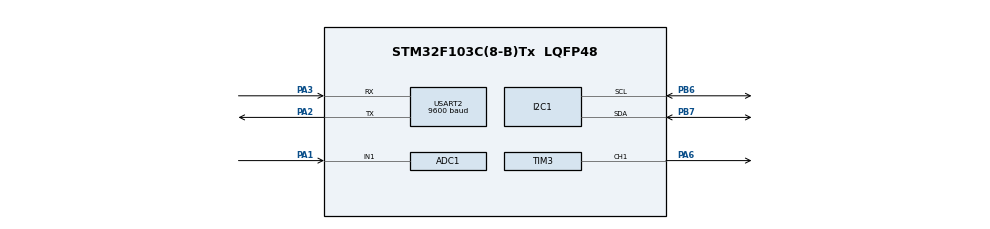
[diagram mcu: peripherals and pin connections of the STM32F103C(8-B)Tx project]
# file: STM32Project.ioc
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ADC1.Channel-0\#ChannelRegularConversion=ADC_CHANNEL_1
ADC1.NbrOfConversionFlag=1
ADC1.Rank-0\#ChannelRegularConversion=1
ADC1.SamplingTime-0\#ChannelRegularConversion=ADC_SAMPLETIME_239CYCLES_5
ADC1.master=1
Mcu.Family=STM32F1
Mcu.Name=STM32F103C(8-B)Tx
Mcu.Package=LQFP48
NVIC.ADC1_2_IRQn=true\:0\:0\:false\:false\:true\:true\:true
NVIC.PriorityGroup=NVIC_PRIORITYGROUP_4
NVIC.TIM3_IRQn=true\:0\:0\:false\:false\:true\:true\:true
NVIC.USART2_IRQn=true\:0\:0\:false\:false\:true\:true\:true
PA1.Signal=ADCx_IN1
PA13.Mode=Serial_Wire
PA13.Signal=SYS_JTMS-SWDIO
PA14.Mode=Serial_Wire
PA14.Signal=SYS_JTCK-SWCLK
PA2.Mode=Asynchronous
PA2.Signal=USART2_TX
PA3.Mode=Asynchronous
PA3.Signal=USART2_RX
PA6.Signal=S_TIM3_CH1
PB6.Mode=I2C
PB6.Signal=I2C1_SCL
PB7.Mode=I2C
PB7.Signal=I2C1_SDA
ProjectManager.HeapSize=0x200
ProjectManager.StackSize=0x400
ProjectManager.TargetToolchain=MDK-ARM V5.27
RCC.APB1Freq_Value=8000000
RCC.APB2Freq_Value=8000000
SH.ADCx_IN1.0=ADC1_IN1,IN1
SH.S_TIM3_CH1.0=TIM3_CH1,PWM Generation1 CH1
TIM3.Channel-PWM\ Generation1\ CH1=TIM_CHANNEL_1
TIM3.Period=999
TIM3.Prescaler=15999
TIM3.Pulse-PWM\ Generation1\ CH1=500
USART2.BaudRate=9600
USART2.VirtualMode=VM_ASYNC
board=custom

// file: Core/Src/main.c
/* USER CODE BEGIN Header */
/**
  ******************************************************************************
  * @file           : main.c
  * @brief          : Main program body
  ******************************************************************************
  * @attention
  *
  * <h2><center>&copy; Copyright (c) 2021 STMicroelectronics.
  * All rights reserved.</center></h2>
  *
  * This software component is licensed by ST under BSD 3-Clause license,
  * the "License"; You may not use this file except in compliance with the
  * License. You may obtain a copy of the License at:
  *                        opensource.org/licenses/BSD-3-Clause
  *
  ******************************************************************************
  */
/* USER CODE END Header */
#include "main.h"

/* USER CODE BEGIN Includes */
#define device_addres 0xA0 // slave add
#include "at24c256.h"
/* USER CODE END Includes */

ADC_HandleTypeDef hadc1;

I2C_HandleTypeDef hi2c1;

TIM_HandleTypeDef htim3;

UART_HandleTypeDef huart2;

/* USER CODE BEGIN PV */
uint16_t adc_value;
HAL_StatusTypeDef ret;

#define MPU6050_ADDR 0xD0
#define SMPLRT_DIV_REG 0x19

#define GYRO_CONFIG_REG 0x1B
#define ACCEL_CONFIG_REG 0x1C
#define	ACCEL_XOUT_H_REG 0x3B
#define TEMP_OUT_H_REG 0x41
#define	GYRO_XOUT_H_REG 0x43
#define PWR_MGMT_1_REG 0x6B
#define WHO_AM_I_REG 0x75

int16_t Accel_X_RAW=0;
int16_t Accel_Y_RAW=0;
int16_t Accel_Z_RAW=0;

int16_t Gyro_X_RAW=0;
int16_t Gyro_Y_RAW=0;
int16_t Gyro_Z_RAW=0;

float Ax,Ay,Az,Gx,Gy,Gz;

uint8_t retvalmain[50];

int valx=0;
int valy=0;

int eeprom_adress=0;
uint8_t receiveDataArr[50];
extern int mpu_time;
extern int eeprom_available;

int getUsartDataLength=50;
uint8_t getUsartData[50];
int getUsartIndex=0;

uint8_t received_data;

uint8_t nums1_arr[50];
int nums1index=0;

uint8_t nums2_arr[50];
int nums2index=0;
uint8_t calc_operator;
int maxUsartLength=49;

/* USER CODE END PV */

void SystemClock_Config(void);
static void MX_GPIO_Init(void);
static void MX_TIM3_Init(void);
static void MX_ADC1_Init(void);
static void MX_I2C1_Init(void);
static void MX_USART2_UART_Init(void);

/* USER CODE BEGIN 0 */

void MPU6050_Init(void){
uint8_t check, Data;
// check device id
HAL_I2C_Mem_Read(&hi2c1, MPU6050_ADDR, WHO_AM_I_REG,1, &check, 1, 1000);
//if (check == 0x68){ // boyle bir cihaz varsa
// power management regisgter 0x6b power up
Data = 0;
HAL_I2C_Mem_Write(&hi2c1, MPU6050_ADDR, PWR_MGMT_1_REG,1, &Data, 1, 1000);
//
Data = 0x07;
HAL_I2C_Mem_Write(&hi2c1, MPU6050_ADDR, SMPLRT_DIV_REG,1, &Data, 1, 1000);
// set acc. meter configuration in ACCEL_CONFIG reg.
Data = 0x00;
HAL_I2C_Mem_Write(&hi2c1, MPU6050_ADDR, ACCEL_CONFIG_REG,1, &Data, 1, 1000);
// Set Gyroscopic configuration in GYRO_CONFIG Register
// XG_ST=0,YG_ST=0,ZG_ST=0, FS_SEL=0 -> ? 250 ?/s
Data = 0x00;
HAL_I2C_Mem_Write(&hi2c1, MPU6050_ADDR, GYRO_CONFIG_REG, 1, &Data, 1, 1000);
//}//
}

void MPU6050_Read_Accel (void)
{
uint8_t Rx_data[6];
// Read 6 BYTES of data starting from ACCEL_XOUT_H register
HAL_I2C_Mem_Read (&hi2c1, MPU6050_ADDR, ACCEL_XOUT_H_REG,1, Rx_data, 6, 1000);
Accel_X_RAW = (int16_t)(Rx_data[0] << 8 | Rx_data [1]);
Accel_Y_RAW = (int16_t)(Rx_data[2] << 8 | Rx_data [3]);
Accel_Z_RAW = (int16_t)(Rx_data[4] << 8 | Rx_data [5]);
Ax = Accel_X_RAW/16384.0;
Ay = Accel_Y_RAW/16384.0;
Az = Accel_Z_RAW/16384.0;
}

void MPU6050_Read_Gyro (void)
{
uint8_t Rx_data[6];
// read 6 bytes of data starting from GYRO_XOUT_H reg.
HAL_I2C_Mem_Read (&hi2c1, MPU6050_ADDR, GYRO_XOUT_H_REG,1, Rx_data, 6, 1000);
Gyro_X_RAW = (int16_t)(Rx_data[0] << 8 | Rx_data [1]);Gyro_Y_RAW = (int16_t)(Rx_data[2] << 8 | Rx_data [3]);
Gyro_Z_RAW = (int16_t)(Rx_data[4] << 8 | Rx_data [5]);
Gx = Gyro_X_RAW/131.0;
Gy = Gyro_Y_RAW/131.0;
Gz = Gyro_Z_RAW/131.0;
}

uint8_t value;
float tempval;
void write_to_eeprom(){
	tempval=(255.0/4096)*adc_value;
	value = (uint8_t) tempval;
	_writeEEPROM(&hi2c1,device_addres,eeprom_adress,(uint8_t)value);
	receiveDataArr[eeprom_adress]=_readEEPROM(&hi2c1 , device_addres, eeprom_adress);
	eeprom_adress++;
}

int get_digit_value(int digit_count, int number){
	int base=1;
	for(int i=0;i<digit_count;i++){
		base=base*10;
	};
	return base*number;
}

int get_num(uint8_t arr[50],int arr_index){
		int number=0;
		for(int i=0;i<arr_index;i++){
			number+=get_digit_value(arr_index-i-1,arr[i]-48);
		}
		return number;
}

int number_to_send=0;
int temp1data=0;
int temp2data=0;
uint8_t send_arr[20];
void execute_calculation(uint8_t arr1[50],uint8_t arr2[50],int arr1index,int arr2index,uint8_t calc_operator){

		int arr_i=0;
		int arr_to_send_i=0;
		int j, r;
		int arr[20];

		if(calc_operator=='+'){
			number_to_send = get_num(arr1,arr1index)+get_num(arr2,arr2index);
		}
		else if(calc_operator=='-'){
			number_to_send = get_num(arr1,arr1index)-get_num(arr2,arr2index);
		}
		else if(calc_operator=='/'){
			number_to_send = get_num(arr1,arr1index)/get_num(arr2,arr2index);
		}
		else if(calc_operator=='*'){
			number_to_send = get_num(arr1,arr1index)*get_num(arr2,arr2index);
		}

		if(number_to_send==0){
		 arr_to_send_i++;
			send_arr[0]=0;
		}
		if(number_to_send<0){
		    send_arr[arr_to_send_i++]='-';
				number_to_send=-number_to_send;
		}

	  while (number_to_send != 0) {
				r = number_to_send % 10;
				arr[arr_i] = r;
				arr_i++;
				number_to_send = number_to_send / 10;
				}

				for (j = arr_i - 1; j > -1; j--) {
					send_arr[arr_to_send_i++]=(uint8_t)arr[j]+48;
				}
				send_arr[arr_to_send_i++]='\n';
				HAL_UART_Transmit_IT(&huart2,(uint8_t*) &send_arr,arr_to_send_i);
				 arr_i=0;
				 r=0;
				 j=0;
				 arr_to_send_i=0;
}

int increase_uart(){
uint8_t data = getUsartData[getUsartIndex];
		if (getUsartIndex>=maxUsartLength){
			getUsartData[getUsartIndex]=0;
			getUsartIndex=0;
		}
		else getUsartData[getUsartIndex++]=0;
		return data;
}

/* USER CODE END 0 */

int main(void)
{

  /* MCU Configuration--------------------------------------------------------*/

  /* Reset of all peripherals, Initializes the Flash interface and the Systick. */
  HAL_Init();

  /* Configure the system clock */
  SystemClock_Config();

  /* Initialize all configured peripherals */
  MX_GPIO_Init();
  MX_TIM3_Init();
  MX_ADC1_Init();
  MX_I2C1_Init();
  MX_USART2_UART_Init();
		/* USER CODE BEGIN 2 */
	HAL_TIM_PWM_Start_IT(&htim3, TIM_CHANNEL_1);
	__HAL_UART_ENABLE_IT(&huart2,UART_IT_RXNE);

	HAL_TIM_Base_Start_IT(&htim3);
	MPU6050_Init();

  /* USER CODE END 2 */

  /* Infinite loop */
  /* USER CODE BEGIN WHILE */

  while (1)
  {

		HAL_ADC_Start(&hadc1);
		HAL_Delay(100);
		adc_value=HAL_ADC_GetValue(&hadc1);

		if(mpu_time==2&&eeprom_available==1){
			write_to_eeprom();
			eeprom_available=0;
		}

		if(getUsartData[getUsartIndex]=='R'){
			int i=0;
			int arr_i=0;
			int arr_to_send_i=0;
			int j, r;
			int arr[20];
			uint8_t arr_to_send[20];
			for(i =0;i<eeprom_adress;i++){

						received_data = _readEEPROM(&hi2c1 , device_addres, i);

						while (received_data != 0) {
						r = received_data % 10;
						arr[arr_i] = r;
						arr_i++;
						received_data = received_data / 10;
						}

						for (j = arr_i - 1; j > -1; j--) {
							arr_to_send[arr_to_send_i++]=(uint8_t)arr[j]+48;
						}
						arr_to_send[arr_to_send_i++]='#';

						 arr_i=0;
						 r=0;
						 j=0;

			}
			arr_to_send[arr_to_send_i++]='\n';
			HAL_UART_Transmit_IT(&huart2,(uint8_t*) &arr_to_send,arr_to_send_i);
			HAL_Delay(50);
			arr_to_send_i=0;
			arr_to_send[0]=0;
			eeprom_adress=0;
			_eraseEEPROM(&hi2c1 , device_addres);
			increase_uart();
		}

		else if(getUsartData[getUsartIndex]=='>'){

				increase_uart();

				while(getUsartData[getUsartIndex]>47&&getUsartData[getUsartIndex]<58){
					nums1_arr[nums1index++]=getUsartData[getUsartIndex];
					increase_uart();
				}

				calc_operator=getUsartData[getUsartIndex];
				increase_uart();

				while(getUsartData[getUsartIndex]!=0){
					nums2_arr[nums2index++]=getUsartData[getUsartIndex];
					increase_uart();
				}
				execute_calculation(nums1_arr,nums2_arr,nums1index,nums2index,calc_operator);
				nums1index=0;
				nums2index=0;
		}

    /* USER CODE END WHILE */

  }
}

void SystemClock_Config(void)
{
  RCC_OscInitTypeDef RCC_OscInitStruct = {0};
  RCC_ClkInitTypeDef RCC_ClkInitStruct = {0};
  RCC_PeriphCLKInitTypeDef PeriphClkInit = {0};

  /** Initializes the RCC Oscillators according to the specified parameters
  * in the RCC_OscInitTypeDef structure.
  */
  RCC_OscInitStruct.OscillatorType = RCC_OSCILLATORTYPE_HSI;
  RCC_OscInitStruct.HSIState = RCC_HSI_ON;
  RCC_OscInitStruct.HSICalibrationValue = RCC_HSICALIBRATION_DEFAULT;
  RCC_OscInitStruct.PLL.PLLState = RCC_PLL_NONE;
  if (HAL_RCC_OscConfig(&RCC_OscInitStruct) != HAL_OK)
  {
    Error_Handler();
  }
  /** Initializes the CPU, AHB and APB buses clocks
  */
  RCC_ClkInitStruct.ClockType = RCC_CLOCKTYPE_HCLK|RCC_CLOCKTYPE_SYSCLK
                              |RCC_CLOCKTYPE_PCLK1|RCC_CLOCKTYPE_PCLK2;
  RCC_ClkInitStruct.SYSCLKSource = RCC_SYSCLKSOURCE_HSI;
  RCC_ClkInitStruct.AHBCLKDivider = RCC_SYSCLK_DIV1;
  RCC_ClkInitStruct.APB1CLKDivider = RCC_HCLK_DIV1;
  RCC_ClkInitStruct.APB2CLKDivider = RCC_HCLK_DIV1;

  if (HAL_RCC_ClockConfig(&RCC_ClkInitStruct, FLASH_LATENCY_0) != HAL_OK)
  {
    Error_Handler();
  }
  PeriphClkInit.PeriphClockSelection = RCC_PERIPHCLK_ADC;
  PeriphClkInit.AdcClockSelection = RCC_ADCPCLK2_DIV2;
  if (HAL_RCCEx_PeriphCLKConfig(&PeriphClkInit) != HAL_OK)
  {
    Error_Handler();
  }
}

static void MX_ADC1_Init(void)
{

  ADC_ChannelConfTypeDef sConfig = {0};

  /** Common config
  */
  hadc1.Instance = ADC1;
  hadc1.Init.ScanConvMode = ADC_SCAN_DISABLE;
  hadc1.Init.ContinuousConvMode = DISABLE;
  hadc1.Init.DiscontinuousConvMode = DISABLE;
  hadc1.Init.ExternalTrigConv = ADC_SOFTWARE_START;
  hadc1.Init.DataAlign = ADC_DATAALIGN_RIGHT;
  hadc1.Init.NbrOfConversion = 1;
  if (HAL_ADC_Init(&hadc1) != HAL_OK)
  {
    Error_Handler();
  }
  /** Configure Regular Channel
  */
  sConfig.Channel = ADC_CHANNEL_1;
  sConfig.Rank = ADC_REGULAR_RANK_1;
  sConfig.SamplingTime = ADC_SAMPLETIME_239CYCLES_5;
  if (HAL_ADC_ConfigChannel(&hadc1, &sConfig) != HAL_OK)
  {
    Error_Handler();
  }

}

static void MX_I2C1_Init(void)
{

  hi2c1.Instance = I2C1;
  hi2c1.Init.ClockSpeed = 100000;
  hi2c1.Init.DutyCycle = I2C_DUTYCYCLE_2;
  hi2c1.Init.OwnAddress1 = 0;
  hi2c1.Init.AddressingMode = I2C_ADDRESSINGMODE_7BIT;
  hi2c1.Init.DualAddressMode = I2C_DUALADDRESS_DISABLE;
  hi2c1.Init.OwnAddress2 = 0;
  hi2c1.Init.GeneralCallMode = I2C_GENERALCALL_DISABLE;
  hi2c1.Init.NoStretchMode = I2C_NOSTRETCH_DISABLE;
  if (HAL_I2C_Init(&hi2c1) != HAL_OK)
  {
    Error_Handler();
  }

}

static void MX_TIM3_Init(void)
{

  TIM_MasterConfigTypeDef sMasterConfig = {0};
  TIM_OC_InitTypeDef sConfigOC = {0};

  htim3.Instance = TIM3;
  htim3.Init.Prescaler = 15999;
  htim3.Init.CounterMode = TIM_COUNTERMODE_UP;
  htim3.Init.Period = 999;
  htim3.Init.ClockDivision = TIM_CLOCKDIVISION_DIV1;
  htim3.Init.AutoReloadPreload = TIM_AUTORELOAD_PRELOAD_DISABLE;
  if (HAL_TIM_PWM_Init(&htim3) != HAL_OK)
  {
    Error_Handler();
  }
  sMasterConfig.MasterOutputTrigger = TIM_TRGO_RESET;
  sMasterConfig.MasterSlaveMode = TIM_MASTERSLAVEMODE_DISABLE;
  if (HAL_TIMEx_MasterConfigSynchronization(&htim3, &sMasterConfig) != HAL_OK)
  {
    Error_Handler();
  }
  sConfigOC.OCMode = TIM_OCMODE_PWM1;
  sConfigOC.Pulse = 500;
  sConfigOC.OCPolarity = TIM_OCPOLARITY_HIGH;
  sConfigOC.OCFastMode = TIM_OCFAST_DISABLE;
  if (HAL_TIM_PWM_ConfigChannel(&htim3, &sConfigOC, TIM_CHANNEL_1) != HAL_OK)
  {
    Error_Handler();
  }
  HAL_TIM_MspPostInit(&htim3);

}

static void MX_USART2_UART_Init(void)
{

  huart2.Instance = USART2;
  huart2.Init.BaudRate = 9600;
  huart2.Init.WordLength = UART_WORDLENGTH_8B;
  huart2.Init.StopBits = UART_STOPBITS_1;
  huart2.Init.Parity = UART_PARITY_NONE;
  huart2.Init.Mode = UART_MODE_TX_RX;
  huart2.Init.HwFlowCtl = UART_HWCONTROL_NONE;
  huart2.Init.OverSampling = UART_OVERSAMPLING_16;
  if (HAL_UART_Init(&huart2) != HAL_OK)
  {
    Error_Handler();
  }

}

static void MX_GPIO_Init(void)
{

  /* GPIO Ports Clock Enable */
  __HAL_RCC_GPIOA_CLK_ENABLE();
  __HAL_RCC_GPIOB_CLK_ENABLE();

}

void Error_Handler(void)
{
  __disable_irq();
  while (1)
  {
  }
}

/************************ (C) COPYRIGHT STMicroelectronics *****END OF FILE****/
